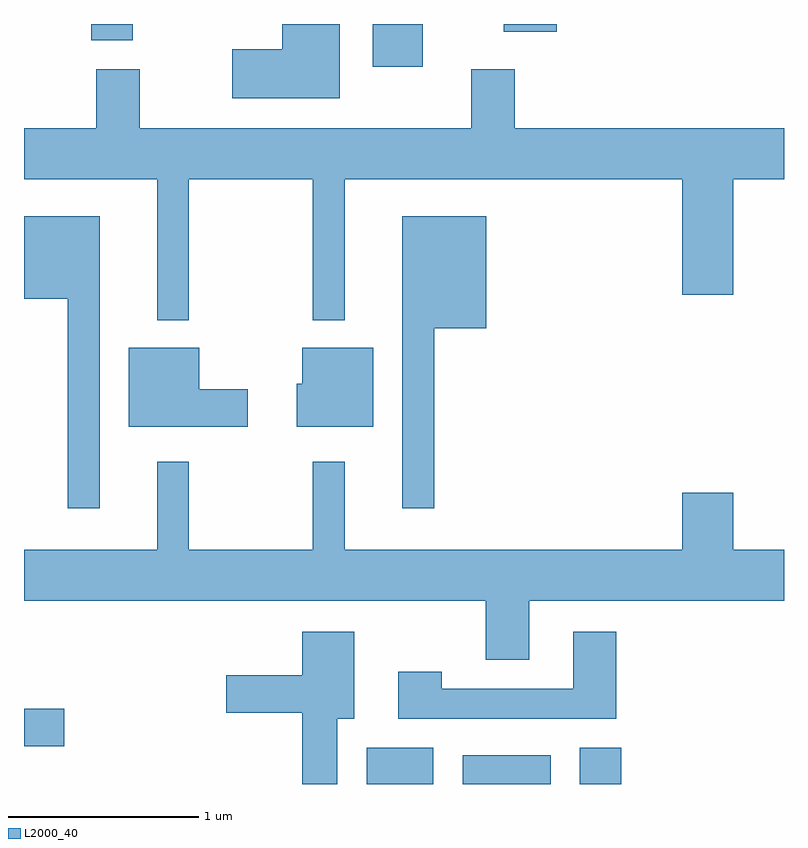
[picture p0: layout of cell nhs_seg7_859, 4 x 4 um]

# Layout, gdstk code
import gdstk
lib = gdstk.Library(unit=1e-6, precision=1e-09)
def R(c, l, rs):  # rectangles x0, y0, x1, y1
    for r in rs: c.add(gdstk.rectangle(r[:2], r[2:], *l))
def P(c, l, *ps):  # polygons
    for p in ps: c.add(gdstk.Polygon(p, *l))
L2000_40 = (2000, 40)

nhs_seg7_859 = lib.new_cell('nhs_seg7_859')
R(nhs_seg7_859, L2000_40, [(213.416,1702.252,213.764,1702.444), (213.921,1702.252,214.384,1702.404), (214.536,1702.252,214.754,1702.444), (211.611,1702.451,211.824,1702.649), (213.446,1706.026,213.709,1706.252), (211.966,1706.166,212.184,1706.252), (214.136,1706.211,214.414,1706.252)])
P(nhs_seg7_859, L2000_40, [(213.274,1706.252),(212.971,1706.252),(212.971,1706.119),(212.706,1706.119),(212.706,1705.861),(213.274,1705.861)],
  [(212.479,1705.436),(213.131,1705.436),(213.131,1704.693),(213.299,1704.693),(213.299,1705.436),(215.076,1705.436),(215.076,1704.826),(215.344,1704.826),(215.344,1705.436),(215.611,1705.436),(215.611,1705.704),(214.194,1705.704),(214.194,1706.014),(213.966,1706.014),(213.966,1705.704),(212.219,1705.704),(212.219,1706.014),(211.991,1706.014),(211.991,1705.704),(211.611,1705.704),(211.611,1705.436),(212.311,1705.436),(212.311,1704.693),(212.479,1704.693)],
  [(212.009,1705.239),(211.611,1705.239),(211.611,1704.806),(211.841,1704.806),(211.841,1703.703),(212.009,1703.703)],
  [(213.769,1704.651),(214.044,1704.651),(214.044,1705.239),(213.601,1705.239),(213.601,1703.703),(213.769,1703.703)],
  [(213.449,1704.549),(213.076,1704.549),(213.076,1704.359),(213.046,1704.359),(213.046,1704.131),(213.449,1704.131)],
  [(212.789,1704.329),(212.534,1704.329),(212.534,1704.549),(212.161,1704.549),(212.161,1704.131),(212.789,1704.131)],
  [(214.269,1703.216),(215.611,1703.216),(215.611,1703.484),(215.344,1703.484),(215.344,1703.784),(215.076,1703.784),(215.076,1703.484),(213.299,1703.484),(213.299,1703.948),(213.131,1703.948),(213.131,1703.484),(212.479,1703.484),(212.479,1703.948),(212.311,1703.948),(212.311,1703.484),(211.611,1703.484),(211.611,1703.216),(214.041,1703.216),(214.041,1702.906),(214.269,1702.906)],
  [(213.259,1702.596),(213.349,1702.596),(213.349,1703.054),(213.076,1703.054),(213.076,1702.824),(212.676,1702.824),(212.676,1702.626),(213.076,1702.626),(213.076,1702.252),(213.259,1702.252)],
  [(214.729,1703.054),(214.501,1703.054),(214.501,1702.754),(213.809,1702.754),(213.809,1702.844),(213.581,1702.844),(213.581,1702.596),(214.729,1702.596)])

lib.write_gds('nhs_seg7_859.gds')
